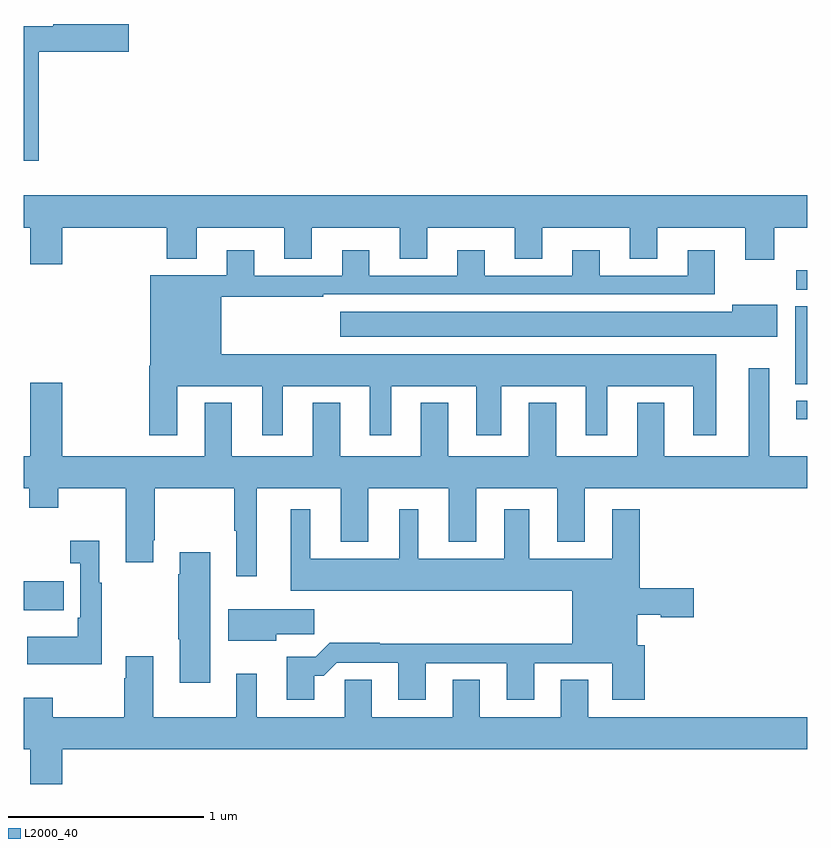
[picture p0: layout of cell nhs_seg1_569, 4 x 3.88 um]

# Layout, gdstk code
import gdstk
lib = gdstk.Library(unit=1e-6, precision=1e-09)
def R(c, l, rs):  # rectangles x0, y0, x1, y1
    for r in rs: c.add(gdstk.rectangle(r[:2], r[2:], *l))
def P(c, l, *ps):  # polygons
    for p in ps: c.add(gdstk.Polygon(p, *l))
L2000_40 = (2000, 40)

nhs_seg1_569 = lib.new_cell('nhs_seg1_569')
R(nhs_seg1_569, L2000_40, [(141,575.087,141.203,575.235), (144.945,576.06,145,576.156), (144.938,576.241,145,576.638), (144.945,576.723,145,576.822)])
P(nhs_seg1_569, L2000_40, [(141.077,577.937),(141.535,577.937),(141.535,578.079),(141.15,578.079),(141.15,578.067),(141,578.067),(141,577.38),(141.077,577.38)],
  [(141.196,577.04),(141.731,577.04),(141.731,576.881),(141.883,576.881),(141.883,577.04),(142.331,577.04),(142.331,576.88),(142.471,576.88),(142.471,577.04),(142.919,577.04),(142.919,576.88),(143.059,576.88),(143.059,577.04),(143.507,577.04),(143.507,576.88),(143.647,576.88),(143.647,577.04),(144.095,577.04),(144.095,576.88),(144.235,576.88),(144.235,577.04),(144.683,577.04),(144.683,576.876),(144.831,576.876),(144.831,577.04),(145,577.04),(145,577.204),(141,577.204),(141,577.04),(141.032,577.04),(141.032,576.852),(141.196,576.852)],
  [(141.784,576.23),(142.217,576.23),(142.217,575.979),(142.321,575.979),(142.321,576.23),(142.766,576.23),(142.766,575.979),(142.876,575.979),(142.876,576.23),(143.309,576.23),(143.309,575.979),(143.437,575.979),(143.437,576.23),(143.87,576.23),(143.87,575.979),(143.98,575.979),(143.98,576.23),(144.419,576.23),(144.419,575.979),(144.535,575.979),(144.535,576.394),(142.009,576.394),(142.009,576.687),(142.529,576.687),(142.529,576.699),(144.529,576.699),(144.529,576.925),(144.389,576.925),(144.389,576.795),(143.941,576.795),(143.941,576.925),(143.801,576.925),(143.801,576.795),(143.353,576.795),(143.353,576.925),(143.213,576.925),(143.213,576.795),(142.765,576.795),(142.765,576.925),(142.625,576.925),(142.625,576.795),(142.177,576.795),(142.177,576.925),(142.037,576.925),(142.037,576.796),(141.647,576.796),(141.647,576.334),(141.64,576.334),(141.64,575.979),(141.784,575.979)],
  [(144.847,576.646),(144.617,576.646),(144.617,576.61),(142.617,576.61),(142.617,576.482),(144.847,576.482)],
  [(142.619,575.435),(142.759,575.435),(142.759,575.708),(143.171,575.708),(143.171,575.435),(143.311,575.435),(143.311,575.708),(143.723,575.708),(143.723,575.435),(143.863,575.435),(143.863,575.708),(145,575.708),(145,575.872),(144.805,575.872),(144.805,576.322),(144.701,576.322),(144.701,575.872),(144.271,575.872),(144.271,576.145),(144.131,576.145),(144.131,575.872),(143.719,575.872),(143.719,576.145),(143.579,576.145),(143.579,575.872),(143.167,575.872),(143.167,576.145),(143.027,576.145),(143.027,575.872),(142.615,575.872),(142.615,576.145),(142.475,576.145),(142.475,575.872),(142.063,575.872),(142.063,576.145),(141.923,576.145),(141.923,575.872),(141.196,575.872),(141.196,576.247),(141.032,576.247),(141.032,575.872),(141,575.872),(141,575.708),(141.029,575.708),(141.029,575.609),(141.177,575.609),(141.177,575.708),(141.521,575.708),(141.521,575.331),(141.661,575.331),(141.661,575.443),(141.669,575.443),(141.669,575.708),(142.075,575.708),(142.075,575.492),(142.085,575.492),(142.085,575.259),(142.189,575.259),(142.189,575.708),(142.619,575.708)],
  [(142.483,574.751),(142.532,574.751),(142.599,574.818),(142.913,574.818),(142.913,574.629),(143.053,574.629),(143.053,574.815),(143.465,574.815),(143.465,574.629),(143.605,574.629),(143.605,574.815),(144.005,574.815),(144.005,574.629),(144.17,574.629),(144.17,574.908),(144.133,574.908),(144.133,575.063),(144.253,575.063),(144.253,575.051),(144.421,575.051),(144.421,575.198),(144.146,575.198),(144.146,575.602),(144.005,575.602),(144.005,575.35),(143.581,575.35),(143.581,575.602),(143.453,575.602),(143.453,575.35),(143.014,575.35),(143.014,575.602),(142.916,575.602),(142.916,575.35),(142.462,575.35),(142.462,575.602),(142.364,575.602),(142.364,575.186),(143.801,575.186),(143.801,574.916),(142.817,574.916),(142.817,574.919),(142.562,574.919),(142.492,574.849),(142.343,574.849),(142.343,574.629),(142.483,574.629)],
  [(141.397,575.227),(141.385,575.227),(141.385,575.44),(141.237,575.44),(141.237,575.327),(141.288,575.327),(141.288,575.047),(141.276,575.047),(141.276,574.951),(141.019,574.951),(141.019,574.811),(141.397,574.811)],
  [(141.952,575.383),(141.797,575.383),(141.797,575.27),(141.79,575.27),(141.79,574.939),(141.797,574.939),(141.797,574.716),(141.952,574.716)],
  [(142.288,574.963),(142.483,574.963),(142.483,575.092),(142.044,575.092),(142.044,574.931),(142.288,574.931)],
  [(141.196,574.376),(145,574.376),(145,574.54),(143.881,574.54),(143.881,574.73),(143.741,574.73),(143.741,574.54),(143.329,574.54),(143.329,574.73),(143.189,574.73),(143.189,574.54),(142.777,574.54),(142.777,574.73),(142.638,574.73),(142.638,574.54),(142.189,574.54),(142.189,574.762),(142.085,574.762),(142.085,574.54),(141.661,574.54),(141.661,574.852),(141.521,574.852),(141.521,574.739),(141.514,574.739),(141.514,574.54),(141.147,574.54),(141.147,574.639),(141,574.639),(141,574.376),(141.032,574.376),(141.032,574.199),(141.196,574.199)])

lib.write_gds('nhs_seg1_569.gds')
